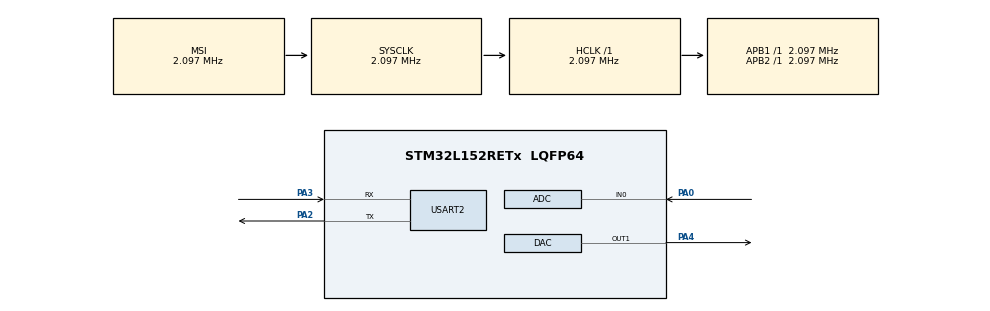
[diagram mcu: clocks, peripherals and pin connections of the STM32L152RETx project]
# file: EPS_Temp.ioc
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ADC.Channel-0\#ChannelRegularConversion=ADC_CHANNEL_0
ADC.NbrOfConversionFlag=1
ADC.Rank-0\#ChannelRegularConversion=1
ADC.Resolution=ADC_RESOLUTION_8B
ADC.SamplingTime-0\#ChannelRegularConversion=ADC_SAMPLETIME_4CYCLES
Mcu.Family=STM32L1
Mcu.Name=STM32L152RETx
Mcu.Package=LQFP64
NVIC.PriorityGroup=NVIC_PRIORITYGROUP_4
PA0-WKUP1.Mode=IN0
PA0-WKUP1.Signal=ADC_IN0
PA2.Mode=Asynchronous
PA2.Signal=USART2_TX
PA3.Mode=Asynchronous
PA3.Signal=USART2_RX
PA4.Signal=COMP_DAC1_group
ProjectManager.HeapSize=0x200
ProjectManager.StackSize=0x400
ProjectManager.TargetToolchain=MDK-ARM V5.27
RCC.AHBFreq_Value=2097000
RCC.APB1Freq_Value=2097000
RCC.APB2Freq_Value=2097000
RCC.HSE_VALUE=24000000
RCC.HSI_VALUE=16000000
RCC.LSE_VALUE=32768
RCC.MSI_VALUE=2097000
RCC.SYSCLKFreq_VALUE=2097000
RCC.VCOOutputFreq_Value=48000000
SH.COMP_DAC1_group.0=DAC_OUT1,DAC_OUT1
USART2.VirtualMode=VM_ASYNC
board=custom

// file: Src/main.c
/* USER CODE BEGIN Header */
/**
  ******************************************************************************
  * @file           : main.c
  * @brief          : Main program body
  ******************************************************************************
  * @attention
  *
  * <h2><center>&copy; Copyright (c) 2020 STMicroelectronics.
  * All rights reserved.</center></h2>
  *
  * This software component is licensed by ST under BSD 3-Clause license,
  * the "License"; You may not use this file except in compliance with the
  * License. You may obtain a copy of the License at:
  *                        opensource.org/licenses/BSD-3-Clause
  *
  ******************************************************************************
  */
/* USER CODE END Header */

#include "main.h"

/* USER CODE BEGIN PD */
#define MAX_SENSOR_OUT 3.3

/* USER CODE END PD */

ADC_HandleTypeDef hadc;

DAC_HandleTypeDef hdac;

UART_HandleTypeDef huart2;

void SystemClock_Config(void);
static void MX_GPIO_Init(void);
static void MX_ADC_Init(void);
static void MX_DAC_Init(void);
static void MX_USART2_UART_Init(void);
/* USER CODE BEGIN PFP */
char Msg1[70] = {0};
/* USER CODE END PFP */

/* USER CODE BEGIN 0 */
uint32_t adcVal0;
float adcVal1;
uint8_t dac;
uint8_t v_ctrl;
uint32_t deltaV;
/* USER CODE END 0 */

int main(void)
{

  /* MCU Configuration--------------------------------------------------------*/

  /* Reset of all peripherals, Initializes the Flash interface and the Systick. */
  HAL_Init();

  /* Configure the system clock */
  SystemClock_Config();

  /* Initialize all configured peripherals */
  MX_GPIO_Init();
  MX_ADC_Init();
  MX_DAC_Init();
  MX_USART2_UART_Init();

  /* Infinite loop */
  while (1)
  {

    /* USER CODE BEGIN 3 */
			HAL_ADC_Start(&hadc);
		HAL_DAC_Start(&hdac, DAC_CHANNEL_1);

		if( HAL_ADC_PollForConversion(&hadc,5) == HAL_OK){
			adcVal0 = HAL_ADC_GetValue(&hadc);
		}

		/*
		Assuming output range is from 0 to 3.3 volts
		output = output_start + ((output_end - output_start) / (input_end - input_start)) * (input - input_start)
		*/

		adcVal1 = ((MAX_SENSOR_OUT * (float)adcVal0) / 255);
		if(adcVal1 > MAX_SENSOR_OUT){
			adcVal1 = MAX_SENSOR_OUT;
		}
		//snprintf((char *)Msg1, sizeof(Msg1), "\r\nADC Value: %lf\r\n",  adcVal1);
		//HAL_UART_Transmit(&huart2, (uint8_t *) Msg1, sizeof(Msg1), 1);
		//HAL_DAC_SetValue(&hdac, DAC_CHANNEL_1, DAC_ALIGN_8B_R, adcVal1);
		//convert back from float to uint8_t
		dac = (uint8_t) (adcVal1 * 255) / MAX_SENSOR_OUT;
		v_ctrl = dac * 0.026;
		//return to output
		HAL_DAC_SetValue(&hdac, DAC_CHANNEL_1, DAC_ALIGN_8B_R, v_ctrl);

  }
  /* USER CODE END 3 */
}

void SystemClock_Config(void)
{
  RCC_OscInitTypeDef RCC_OscInitStruct = {0};
  RCC_ClkInitTypeDef RCC_ClkInitStruct = {0};

  /** Configure the main internal regulator output voltage
  */
  __HAL_PWR_VOLTAGESCALING_CONFIG(PWR_REGULATOR_VOLTAGE_SCALE1);
  /** Initializes the CPU, AHB and APB busses clocks
  */
  RCC_OscInitStruct.OscillatorType = RCC_OSCILLATORTYPE_HSI|RCC_OSCILLATORTYPE_MSI;
  RCC_OscInitStruct.HSIState = RCC_HSI_ON;
  RCC_OscInitStruct.HSICalibrationValue = RCC_HSICALIBRATION_DEFAULT;
  RCC_OscInitStruct.MSIState = RCC_MSI_ON;
  RCC_OscInitStruct.MSICalibrationValue = 0;
  RCC_OscInitStruct.MSIClockRange = RCC_MSIRANGE_5;
  RCC_OscInitStruct.PLL.PLLState = RCC_PLL_NONE;
  if (HAL_RCC_OscConfig(&RCC_OscInitStruct) != HAL_OK)
  {
    Error_Handler();
  }
  /** Initializes the CPU, AHB and APB busses clocks
  */
  RCC_ClkInitStruct.ClockType = RCC_CLOCKTYPE_HCLK|RCC_CLOCKTYPE_SYSCLK
                              |RCC_CLOCKTYPE_PCLK1|RCC_CLOCKTYPE_PCLK2;
  RCC_ClkInitStruct.SYSCLKSource = RCC_SYSCLKSOURCE_MSI;
  RCC_ClkInitStruct.AHBCLKDivider = RCC_SYSCLK_DIV1;
  RCC_ClkInitStruct.APB1CLKDivider = RCC_HCLK_DIV1;
  RCC_ClkInitStruct.APB2CLKDivider = RCC_HCLK_DIV1;

  if (HAL_RCC_ClockConfig(&RCC_ClkInitStruct, FLASH_LATENCY_0) != HAL_OK)
  {
    Error_Handler();
  }
}

static void MX_ADC_Init(void)
{

  ADC_ChannelConfTypeDef sConfig = {0};

  /** Configure the global features of the ADC (Clock, Resolution, Data Alignment and number of conversion)
  */
  hadc.Instance = ADC1;
  hadc.Init.ClockPrescaler = ADC_CLOCK_ASYNC_DIV1;
  hadc.Init.Resolution = ADC_RESOLUTION_8B;
  hadc.Init.DataAlign = ADC_DATAALIGN_RIGHT;
  hadc.Init.ScanConvMode = ADC_SCAN_DISABLE;
  hadc.Init.EOCSelection = ADC_EOC_SEQ_CONV;
  hadc.Init.LowPowerAutoWait = ADC_AUTOWAIT_DISABLE;
  hadc.Init.LowPowerAutoPowerOff = ADC_AUTOPOWEROFF_DISABLE;
  hadc.Init.ChannelsBank = ADC_CHANNELS_BANK_A;
  hadc.Init.ContinuousConvMode = DISABLE;
  hadc.Init.NbrOfConversion = 1;
  hadc.Init.DiscontinuousConvMode = DISABLE;
  hadc.Init.ExternalTrigConv = ADC_SOFTWARE_START;
  hadc.Init.ExternalTrigConvEdge = ADC_EXTERNALTRIGCONVEDGE_NONE;
  hadc.Init.DMAContinuousRequests = DISABLE;
  if (HAL_ADC_Init(&hadc) != HAL_OK)
  {
    Error_Handler();
  }
  /** Configure for the selected ADC regular channel its corresponding rank in the sequencer and its sample time.
  */
  sConfig.Channel = ADC_CHANNEL_0;
  sConfig.Rank = ADC_REGULAR_RANK_1;
  sConfig.SamplingTime = ADC_SAMPLETIME_4CYCLES;
  if (HAL_ADC_ConfigChannel(&hadc, &sConfig) != HAL_OK)
  {
    Error_Handler();
  }

}

static void MX_DAC_Init(void)
{

  DAC_ChannelConfTypeDef sConfig = {0};

  /** DAC Initialization
  */
  hdac.Instance = DAC;
  if (HAL_DAC_Init(&hdac) != HAL_OK)
  {
    Error_Handler();
  }
  /** DAC channel OUT1 config
  */
  sConfig.DAC_Trigger = DAC_TRIGGER_NONE;
  sConfig.DAC_OutputBuffer = DAC_OUTPUTBUFFER_ENABLE;
  if (HAL_DAC_ConfigChannel(&hdac, &sConfig, DAC_CHANNEL_1) != HAL_OK)
  {
    Error_Handler();
  }

}

static void MX_USART2_UART_Init(void)
{

  huart2.Instance = USART2;
  huart2.Init.BaudRate = 115200;
  huart2.Init.WordLength = UART_WORDLENGTH_8B;
  huart2.Init.StopBits = UART_STOPBITS_1;
  huart2.Init.Parity = UART_PARITY_NONE;
  huart2.Init.Mode = UART_MODE_TX_RX;
  huart2.Init.HwFlowCtl = UART_HWCONTROL_NONE;
  huart2.Init.OverSampling = UART_OVERSAMPLING_16;
  if (HAL_UART_Init(&huart2) != HAL_OK)
  {
    Error_Handler();
  }

}

static void MX_GPIO_Init(void)
{

  /* GPIO Ports Clock Enable */
  __HAL_RCC_GPIOA_CLK_ENABLE();

}

void Error_Handler(void)
{
}

/************************ (C) COPYRIGHT STMicroelectronics *****END OF FILE****/
